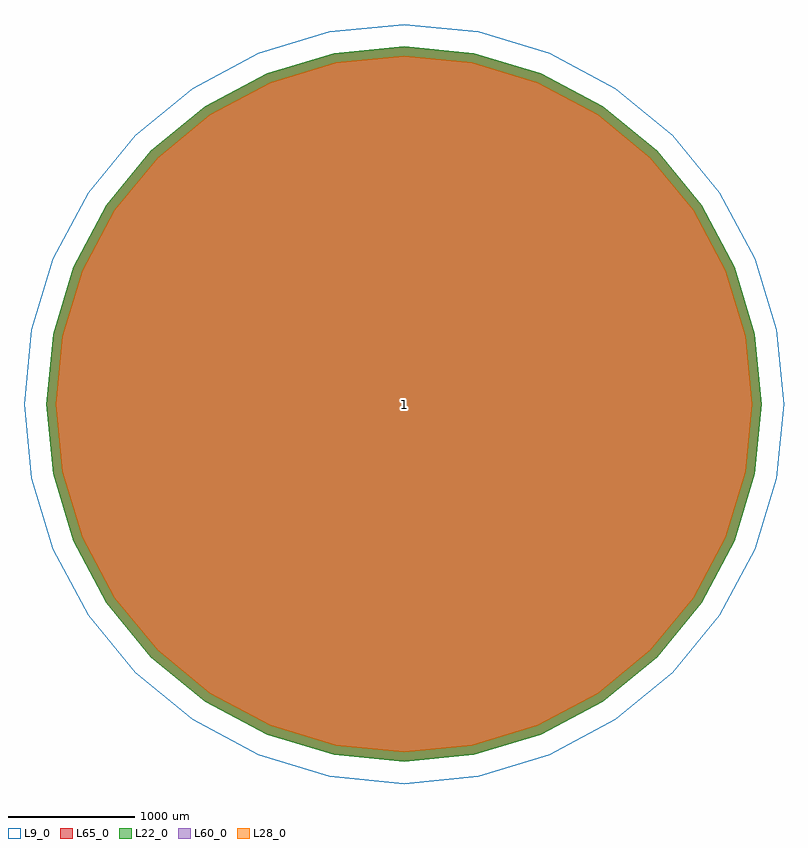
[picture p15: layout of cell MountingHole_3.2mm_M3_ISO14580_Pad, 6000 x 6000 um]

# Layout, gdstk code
import gdstk
lib = gdstk.Library(unit=1e-6, precision=1e-09)
def P(c, l, *ps):  # polygons
    for p in ps: c.add(gdstk.Polygon(p, *l))
L9_0 = (9, 0)
L22_0 = (22, 0)
L28_0 = (28, 0)
L60_0 = (60, 0)
L65_0 = (65, 0)

mountinghole_3_2mm_m3_is = lib.new_cell('MountingHole_3.2mm_M3_ISO14580_Pad')
P(mountinghole_3_2mm_m3_is, L9_0, [(3000,0),(2942.356,585.271),(2771.639,1148.05),(2494.409,1666.711),(2121.32,2121.32),(1666.711,2494.409),(1148.05,2771.639),(585.271,2942.356),(0,3000),(-585.271,2942.356),(-1148.05,2771.639),(-1666.711,2494.409),(-2121.32,2121.32),(-2494.409,1666.711),(-2771.639,1148.05),(-2942.356,585.271),(-3000,0),(-2942.356,-585.271),(-2771.639,-1148.05),(-2494.409,-1666.711),(-2121.32,-2121.32),(-1666.711,-2494.409),(-1148.05,-2771.639),(-585.271,-2942.356),(0,-3000),(585.271,-2942.356),(1148.05,-2771.639),(1666.711,-2494.409),(2121.32,-2121.32),(2494.409,-1666.711),(2771.639,-1148.05),(2942.356,-585.271)],
  [(2750,0),(2697.16,536.498),(2540.669,1052.379),(2286.541,1527.818),(1944.544,1944.544),(1527.818,2286.541),(1052.379,2540.669),(536.498,2697.16),(0,2750),(-536.498,2697.16),(-1052.379,2540.669),(-1527.818,2286.541),(-1944.544,1944.544),(-2286.541,1527.818),(-2540.669,1052.379),(-2697.16,536.498),(-2750,0),(-2697.16,-536.498),(-2540.669,-1052.379),(-2286.541,-1527.818),(-1944.544,-1944.544),(-1527.818,-2286.541),(-1052.379,-2540.669),(-536.498,-2697.16),(0,-2750),(536.498,-2697.16),(1052.379,-2540.669),(1527.818,-2286.541),(1944.544,-1944.544),(2286.541,-1527.818),(2540.669,-1052.379),(2697.16,-536.498)])
P(mountinghole_3_2mm_m3_is, L22_0, [(2825,0),(2770.718,551.13),(2609.96,1081.081),(2348.902,1569.486),(1997.577,1997.577),(1569.486,2348.902),(1081.081,2609.96),(551.13,2770.718),(0,2825),(-551.13,2770.718),(-1081.081,2609.96),(-1569.486,2348.902),(-1997.577,1997.577),(-2348.902,1569.486),(-2609.96,1081.081),(-2770.718,551.13),(-2825,0),(-2770.718,-551.13),(-2609.96,-1081.081),(-2348.902,-1569.486),(-1997.577,-1997.577),(-1569.486,-2348.902),(-1081.081,-2609.96),(-551.13,-2770.718),(0,-2825),(551.13,-2770.718),(1081.081,-2609.96),(1569.486,-2348.902),(1997.577,-1997.577),(2348.902,-1569.486),(2609.96,-1081.081),(2770.718,-551.13)])
P(mountinghole_3_2mm_m3_is, L28_0, [(2750,0),(2697.16,536.498),(2540.669,1052.379),(2286.541,1527.818),(1944.544,1944.544),(1527.818,2286.541),(1052.379,2540.669),(536.498,2697.16),(0,2750),(-536.498,2697.16),(-1052.379,2540.669),(-1527.818,2286.541),(-1944.544,1944.544),(-2286.541,1527.818),(-2540.669,1052.379),(-2697.16,536.498),(-2750,0),(-2697.16,-536.498),(-2540.669,-1052.379),(-2286.541,-1527.818),(-1944.544,-1944.544),(-1527.818,-2286.541),(-1052.379,-2540.669),(-536.498,-2697.16),(0,-2750),(536.498,-2697.16),(1052.379,-2540.669),(1527.818,-2286.541),(1944.544,-1944.544),(2286.541,-1527.818),(2540.669,-1052.379),(2697.16,-536.498)])
P(mountinghole_3_2mm_m3_is, L60_0, [(2750,0),(2697.16,536.498),(2540.669,1052.379),(2286.541,1527.818),(1944.544,1944.544),(1527.818,2286.541),(1052.379,2540.669),(536.498,2697.16),(0,2750),(-536.498,2697.16),(-1052.379,2540.669),(-1527.818,2286.541),(-1944.544,1944.544),(-2286.541,1527.818),(-2540.669,1052.379),(-2697.16,536.498),(-2750,0),(-2697.16,-536.498),(-2540.669,-1052.379),(-2286.541,-1527.818),(-1944.544,-1944.544),(-1527.818,-2286.541),(-1052.379,-2540.669),(-536.498,-2697.16),(0,-2750),(536.498,-2697.16),(1052.379,-2540.669),(1527.818,-2286.541),(1944.544,-1944.544),(2286.541,-1527.818),(2540.669,-1052.379),(2697.16,-536.498)])
P(mountinghole_3_2mm_m3_is, L65_0, [(2825,0),(2770.718,551.13),(2609.96,1081.081),(2348.902,1569.486),(1997.577,1997.577),(1569.486,2348.902),(1081.081,2609.96),(551.13,2770.718),(0,2825),(-551.13,2770.718),(-1081.081,2609.96),(-1569.486,2348.902),(-1997.577,1997.577),(-2348.902,1569.486),(-2609.96,1081.081),(-2770.718,551.13),(-2825,0),(-2770.718,-551.13),(-2609.96,-1081.081),(-2348.902,-1569.486),(-1997.577,-1997.577),(-1569.486,-2348.902),(-1081.081,-2609.96),(-551.13,-2770.718),(0,-2825),(551.13,-2770.718),(1081.081,-2609.96),(1569.486,-2348.902),(1997.577,-1997.577),(2348.902,-1569.486),(2609.96,-1081.081),(2770.718,-551.13)])
mountinghole_3_2mm_m3_is.add(gdstk.Label('1', (0,0), layer=28, texttype=0))
mountinghole_3_2mm_m3_is.add(gdstk.Label('type', (0,-3750), layer=9, texttype=0))
mountinghole_3_2mm_m3_is.add(gdstk.Label('devicename', (0,3750), layer=9, texttype=0))

lib.write_gds('MountingHole_3.2mm_M3_ISO14580_Pad.gds')
